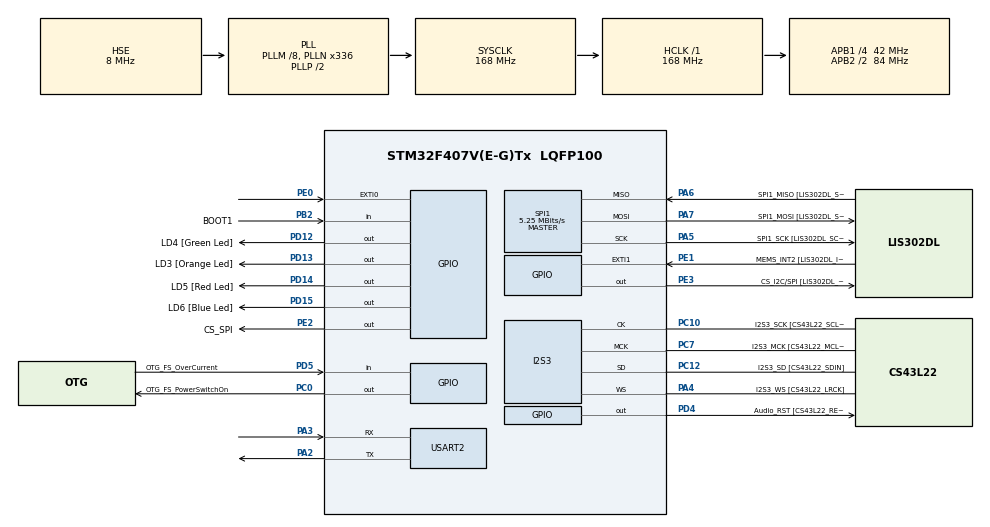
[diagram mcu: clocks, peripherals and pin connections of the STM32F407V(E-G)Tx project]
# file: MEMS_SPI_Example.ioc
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Mcu.Family=STM32F4
PA11.GPIO_Speed=GPIO_SPEED_FREQ_LOW
PC3.GPIO_Mode=GPIO_MODE_AF_PP
PD12.GPIO_Label=LD4 [Green Led]
PA6.Mode=Full_Duplex_Master
PH0-OSC_IN.Signal=RCC_OSC_IN
RCC.CortexFreq_Value=168000000
PC10.GPIO_PuPd=GPIO_NOPULL
PB10.GPIO_Speed=GPIO_SPEED_FREQ_LOW
SPI1.VirtualType=VM_MASTER
PB6.GPIO_Mode=GPIO_MODE_AF_OD
PB10.GPIO_PuPd=GPIO_NOPULL
PA10.GPIO_PuPd=GPIO_NOPULL
PD15.GPIO_Speed=GPIO_SPEED_FREQ_LOW
PC10.Signal=I2S3_CK
PC12.Signal=I2S3_SD
PA14.GPIO_Label=SWCLK
PA7.GPIO_Mode=GPIO_MODE_AF_PP
PC0.GPIO_Label=OTG_FS_PowerSwitchOn
PA6.GPIO_Label=SPI1_MISO [LIS302DL_SDO]
PB6.GPIO_Label=Audio_SCL [CS43L22_SCL]
PC10.GPIO_Speed=GPIO_SPEED_FREQ_LOW
PA11.GPIO_PuPd=GPIO_NOPULL
PC15-OSC32_OUT.GPIO_Label=PC15-OSC32_OUT
PC3.GPIO_Speed=GPIO_SPEED_FREQ_LOW
RCC.SYSCLKSource=RCC_SYSCLKSOURCE_PLLCLK
ProjectManager.StackSize=0x400
PA6.GPIO_Mode=GPIO_MODE_AF_PP
SPI1.Mode-Full_Duplex_Master=SPI_MODE_MASTER
PD13.Signal=GPIO_Output
PD14.GPIO_Speed=GPIO_SPEED_FREQ_LOW
PA12.Signal=USB_OTG_FS_DP
PA4.Mode=Half_Duplex_Master
SPI1.Direction=SPI_DIRECTION_2LINES
I2S3.AudioFreq-Half_Duplex_Master=I2S_AUDIOFREQ_96K
RCC.HCLKFreq_Value=168000000
PD4.Signal=GPIO_Output
RCC.APB2TimFreq_Value=168000000
PB6.Signal=I2C1_SCL
PC7.Signal=I2S3_MCK
SPI1.CalculateBaudRate=5.25 MBits/s
PC3.Signal=I2S2_SD
PE1.Signal=GPXTI1
RCC.AHBFreq_Value=168000000
PH0-OSC_IN.Mode=HSE-External-Oscillator
PH0-OSC_IN.GPIO_Label=PH0-OSC_IN
PA9.GPIO_Mode=GPIO_MODE_INPUT
RCC.HSE_VALUE=8000000
PA4.GPIO_PuPd=GPIO_NOPULL
PB2.Signal=GPIO_Input
PA4.GPIO_Speed=GPIO_SPEED_FREQ_LOW
I2S3.ErrorAudioFreq=-2.34 %
PA6.GPIO_PuPd=GPIO_NOPULL
PC14-OSC32_IN.Mode=LSE-External-Oscillator
PA14.Mode=Serial_Wire
PA5.GPIO_PuPd=GPIO_NOPULL
I2S3.ErrorAudioFreq-Half_Duplex_Master=0.8 %
PA10.GPIO_Label=OTG_FS_ID
PC7.GPIO_Mode=GPIO_MODE_AF_PP
PD5.GPIO_Mode=GPIO_MODE_INPUT
PE2.Signal=GPIO_Output
PD14.GPIO_PuPd=GPIO_NOPULL
PB2.GPIO_PuPd=GPIO_NOPULL
SPI1.CalculateBaudRate-Full_Duplex_Master=42.0 MBits/s
PH1-OSC_OUT.Mode=HSE-External-Oscillator
PD13.GPIO_Label=LD3 [Orange Led]
Mcu.Package=LQFP100
PB9.Signal=I2C1_SDA
PA6.Signal=SPI1_MISO
USART2.VirtualMode=VM_ASYNC
PD12.Signal=GPIO_Output
PD5.GPIO_Label=OTG_FS_OverCurrent
PD15.GPIO_PuPd=GPIO_NOPULL
PA10.Signal=USB_OTG_FS_ID
PB9.GPIO_PuPd=GPIO_NOPULL
PA10.GPIO_Speed=GPIO_SPEED_FREQ_LOW
RCC.APB2CLKDivider=RCC_HCLK_DIV2
PB9.GPIO_Speed=GPIO_SPEED_FREQ_LOW
RCC.APB1TimFreq_Value=84000000
PC14-OSC32_IN.GPIO_Label=PC14-OSC32_IN
PC12.GPIO_PuPd=GPIO_NOPULL
PA6.GPIO_Speed=GPIO_SPEED_FREQ_LOW
PC0.GPIO_PuPd=GPIO_NOPULL
PA12.GPIO_PuPd=GPIO_NOPULL
SPI1.BaudRatePrescaler=SPI_BAUDRATEPRESCALER_16
PA4.GPIO_Label=I2S3_WS [CS43L22_LRCK]
PE2.GPIO_Label=CS_SPI
PD15.Signal=GPIO_Output
PC0.PinState=GPIO_PIN_SET
PA12.GPIO_Speed=GPIO_SPEED_FREQ_LOW
PA3.Signal=USART2_RX
PA5.Mode=Full_Duplex_Master
PB3.GPIO_Label=SWO
RCC.PLLSourceVirtual=RCC_PLLSOURCE_HSE
PC15-OSC32_OUT.Mode=LSE-External-Oscillator
I2S3.FullDuplexMode=I2S_FULLDUPLEXMODE_DISABLE
PD12.GPIO_Speed=GPIO_SPEED_FREQ_LOW
PD15.GPIO_Label=LD6 [Blue Led]
PA7.Mode=Full_Duplex_Master
PB9.GPIO_Label=Audio_SDA [CS43L22_SDA]
PC10.GPIO_Label=I2S3_SCK [CS43L22_SCLK]
PE2.PinState=GPIO_PIN_SET
PA9.GPIO_Label=VBUS_FS
PB6.GPIO_PuPd=GPIO_NOPULL
PC10.Mode=Half_Duplex_Master
PA11.GPIO_Label=OTG_FS_DM
PE1.GPIO_PuPd=GPIO_NOPULL
PD5.Signal=GPIO_Input
SPI1.CLKPhase=SPI_PHASE_1EDGE
PC0.Signal=GPIO_Output
PE1.GPIO_ModeDefaultEXTI=GPIO_MODE_EVT_RISING
RCC.APB1CLKDivider=RCC_HCLK_DIV4
PC14-OSC32_IN.Signal=RCC_OSC32_IN
PA9.GPIO_PuPd=GPIO_NOPULL
PA12.GPIO_Label=OTG_FS_DP
PA10.GPIO_Mode=GPIO_MODE_AF_PP
PA3.Mode=Asynchronous
PA13.Signal=SYS_JTMS-SWDIO
PC10.GPIO_Mode=GPIO_MODE_AF_PP
PD4.GPIO_PuPd=GPIO_NOPULL
PC0.GPIO_Speed=GPIO_SPEED_FREQ_LOW
PB10.GPIO_Mode=GPIO_MODE_AF_PP
I2S3.RealAudioFreq-Half_Duplex_Master=96.774 KHz
ProjectManager.TargetToolchain=STM32CubeIDE
PB10.GPIO_Label=CLK_IN [MP45DT02_CLK]
PA9.Signal=USB_OTG_FS_VBUS
I2S3.VirtualMode=I2S_MODE_MASTER
PC7.GPIO_PuPd=GPIO_NOPULL
PC15-OSC32_OUT.Signal=RCC_OSC32_OUT
PA7.GPIO_PuPd=GPIO_NOPULL
PB10.Signal=I2S2_CK
PA5.Signal=SPI1_SCK
PC12.Mode=Half_Duplex_Master
board=STM32F407G-DISC1
PD13.GPIO_Speed=GPIO_SPEED_FREQ_LOW
PC7.GPIO_Speed=GPIO_SPEED_FREQ_LOW
RCC.VCOOutputFreq_Value=336000000
PE1.GPIO_Label=MEMS_INT2 [LIS302DL_INT2]
PA7.GPIO_Speed=GPIO_SPEED_FREQ_LOW
PB9.GPIO_Mode=GPIO_MODE_AF_OD
PA12.GPIO_Mode=GPIO_MODE_AF_PP
PA4.GPIO_Mode=GPIO_MODE_AF_PP
RCC.APB2Freq_Value=84000000
PB2.GPIO_Mode=GPIO_MODE_INPUT
SPI1.Mode=SPI_MODE_MASTER
PD4.GPIO_Label=Audio_RST [CS43L22_RESET]
PD4.GPIO_Speed=GPIO_SPEED_FREQ_LOW
PE3.GPIO_PuPd=GPIO_NOPULL
PH1-OSC_OUT.Signal=RCC_OSC_OUT
PD13.GPIO_PuPd=GPIO_NOPULL
PD5.GPIO_PuPd=GPIO_NOPULL
PD14.GPIO_Label=LD5 [Red Led]
PH1-OSC_OUT.GPIO_Label=PH1-OSC_OUT
PA13.Mode=Serial_Wire
Mcu.Name=STM32F407V(E-G)Tx
PE0.Signal=GPXTI0
PA2.Signal=USART2_TX
PA13.GPIO_Label=SWDIO
PC7.GPIO_Label=I2S3_MCK [CS43L22_MCLK]
PD14.Signal=GPIO_Output
RCC.48MHZClocksFreq_Value=48000000
PB3.Signal=SYS_JTDO-SWO
NVIC.EXTI0_IRQn=true\:0\:0\:false\:false\:true\:true\:true
PA4.Signal=I2S3_WS
RCC.SYSCLKFreq_VALUE=168000000
PC12.GPIO_Mode=GPIO_MODE_AF_PP
PA7.GPIO_Label=SPI1_MOSI [LIS302DL_SDA/SDI/SDO]
PA5.GPIO_Label=SPI1_SCK [LIS302DL_SCL/SPC]
PE3.GPIO_Speed=GPIO_SPEED_FREQ_LOW
PC12.GPIO_Label=I2S3_SD [CS43L22_SDIN]
PA11.Signal=USB_OTG_FS_DM
PA14.Signal=SYS_JTCK-SWCLK
PB2.GPIO_Label=BOOT1
ProjectManager.HeapSize=0x200
RCC.HSI_VALUE=16000000
PA5.GPIO_Speed=GPIO_SPEED_FREQ_LOW
RCC.PLLQ=7
NVIC.PriorityGroup=NVIC_PRIORITYGROUP_0
I2S3.RealAudioFreq=93.75 KHz
RCC.PLLM=8
RCC.PLLN=336
PE3.Signal=GPIO_Output
PA2.Mode=Asynchronous
PE3.GPIO_Label=CS_I2C/SPI [LIS302DL_CS_I2C/SPI]
PC3.GPIO_Label=PDM_OUT [MP45DT02_DOUT]
I2S3.Instance=SPI$Index
PC7.Mode=Master_Clock_Activated
PA11.GPIO_Mode=GPIO_MODE_AF_PP
PB6.GPIO_Speed=GPIO_SPEED_FREQ_LOW
RCC.APB1Freq_Value=42000000
PA5.GPIO_Mode=GPIO_MODE_AF_PP
PC12.GPIO_Speed=GPIO_SPEED_FREQ_LOW
SPI1.BaudRatePrescaler-Full_Duplex_Master=SPI_BAUDRATEPRESCALER_2
PC3.GPIO_PuPd=GPIO_NOPULL
PD12.GPIO_PuPd=GPIO_NOPULL
PA7.Signal=SPI1_MOSI

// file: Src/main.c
/* USER CODE BEGIN Header */
/**
  ******************************************************************************
  * @file           : main.c
  * @brief          : Main program body
  ******************************************************************************
  * @attention
  *
  * <h2><center>&copy; Copyright (c) 2020 STMicroelectronics.
  * All rights reserved.</center></h2>
  *
  * This software component is licensed by ST under BSD 3-Clause license,
  * the "License"; You may not use this file except in compliance with the
  * License. You may obtain a copy of the License at:
  *                        opensource.org/licenses/BSD-3-Clause
  *
  ******************************************************************************
  */
/* USER CODE END Header */
#include "main.h"

/* USER CODE BEGIN Includes */
#include <stdio.h>
/* USER CODE END Includes */

/* USER CODE BEGIN PD */
#define SPI_CS GPIO_PIN_3   // The chip select pin for the MEMES chip.
#define SPI_RD 0x80         // The bit to set SPI to read.

/* USER CODE END PD */

I2S_HandleTypeDef hi2s3;

SPI_HandleTypeDef hspi1;

UART_HandleTypeDef huart2;

void SystemClock_Config(void);
static void MX_GPIO_Init(void);
static void MX_I2S3_Init(void);
static void MX_SPI1_Init(void);
static void MX_USART2_UART_Init(void);

/* USER CODE BEGIN 0 */
// Define the SPI communication buffers.
//
uint8_t auchSpiTxBuf[2], auchSpiRxBuf[2];

/* USER CODE END 0 */

int main(void)
{

  /* MCU Configuration--------------------------------------------------------*/

  /* Reset of all peripherals, Initializes the Flash interface and the Systick. */
  HAL_Init();

  /* Configure the system clock */
  SystemClock_Config();

  /* Initialize all configured peripherals */
  MX_GPIO_Init();
  MX_I2S3_Init();
  MX_SPI1_Init();
  MX_USART2_UART_Init();
  /* USER CODE BEGIN 2 */

  // Now set up the MEMs chip for 3.25 Hz sampling rate.
	// Initial setup of the MEMS sample rate
	auchSpiTxBuf[0] = 0x20;   // Control Reg 0x20
	auchSpiTxBuf[1] = 0x11;   // Sampling at 3.5 Hz, X accelerometer

	// Now set the chip select low
	HAL_GPIO_WritePin(GPIOE, SPI_CS, GPIO_PIN_RESET);
	// Now write the set up data.
	HAL_SPI_Transmit(&hspi1, auchSpiTxBuf, 2, 50);  // Send the set up command.
	//Now set the CS pin high again
	HAL_GPIO_WritePin(GPIOE, SPI_CS, GPIO_PIN_SET);

	// We can now read the date back to check that the write was successful
	//
	// Set up the auchSpiTxBuf for a read.
	auchSpiTxBuf[0] = 0x20 | SPI_RD;   // Control Reg 0x20 to be read

	// Now set the chip select low
	HAL_GPIO_WritePin(GPIOE, SPI_CS, GPIO_PIN_RESET);
	// Now write the set up data.
	HAL_SPI_Transmit(&hspi1, auchSpiTxBuf, 1, 50);
	HAL_SPI_Receive(&hspi1, auchSpiRxBuf, 1, 50);
	//Now set the CS pin high again
	HAL_GPIO_WritePin(GPIOE, SPI_CS, GPIO_PIN_SET);

	// Now print out the value to see if it is correct
	printf("Control value read = %d\n", auchSpiRxBuf[0]);

  /* USER CODE END 2 */

  /* Infinite loop */
  /* USER CODE BEGIN WHILE */
  while (1)
  {
//#ifdef LOOP
    HAL_GPIO_TogglePin(LD4_GPIO_Port, LD4_Pin);
    // Set up the auchSpiTxBuf for a read.
    auchSpiTxBuf[0] = 0x29 | SPI_RD;   // Control Reg 0x29 to be read

    // Now set the chip select low
    HAL_GPIO_WritePin(GPIOE, SPI_CS, GPIO_PIN_RESET);
    // Now write the set up data.
    HAL_SPI_Transmit(&hspi1, auchSpiTxBuf, 1, 50);
    HAL_SPI_Receive(&hspi1, auchSpiRxBuf, 1, 50);
    //Now set the CS pin high again
    HAL_GPIO_WritePin(GPIOE, SPI_CS, GPIO_PIN_SET);
    HAL_Delay(100);
    // Now print out the value to see if it is correct
    printf("Value read = %d\n", (int8_t)auchSpiRxBuf[0]);
//#endif
//    HAL_GPIO_TogglePin(LD4_GPIO_Port, LD4_Pin);
//    HAL_Delay(300);
    /* USER CODE END WHILE */

  }
}

void SystemClock_Config(void)
{
  RCC_OscInitTypeDef RCC_OscInitStruct = {0};
  RCC_ClkInitTypeDef RCC_ClkInitStruct = {0};
  RCC_PeriphCLKInitTypeDef PeriphClkInitStruct = {0};

  /** Configure the main internal regulator output voltage
  */
  __HAL_RCC_PWR_CLK_ENABLE();
  __HAL_PWR_VOLTAGESCALING_CONFIG(PWR_REGULATOR_VOLTAGE_SCALE1);
  /** Initializes the RCC Oscillators according to the specified parameters
  * in the RCC_OscInitTypeDef structure.
  */
  RCC_OscInitStruct.OscillatorType = RCC_OSCILLATORTYPE_HSE;
  RCC_OscInitStruct.HSEState = RCC_HSE_ON;
  RCC_OscInitStruct.PLL.PLLState = RCC_PLL_ON;
  RCC_OscInitStruct.PLL.PLLSource = RCC_PLLSOURCE_HSE;
  RCC_OscInitStruct.PLL.PLLM = 8;
  RCC_OscInitStruct.PLL.PLLN = 336;
  RCC_OscInitStruct.PLL.PLLP = RCC_PLLP_DIV2;
  RCC_OscInitStruct.PLL.PLLQ = 7;
  if (HAL_RCC_OscConfig(&RCC_OscInitStruct) != HAL_OK)
  {
    Error_Handler();
  }
  /** Initializes the CPU, AHB and APB buses clocks
  */
  RCC_ClkInitStruct.ClockType = RCC_CLOCKTYPE_HCLK|RCC_CLOCKTYPE_SYSCLK
                              |RCC_CLOCKTYPE_PCLK1|RCC_CLOCKTYPE_PCLK2;
  RCC_ClkInitStruct.SYSCLKSource = RCC_SYSCLKSOURCE_PLLCLK;
  RCC_ClkInitStruct.AHBCLKDivider = RCC_SYSCLK_DIV1;
  RCC_ClkInitStruct.APB1CLKDivider = RCC_HCLK_DIV4;
  RCC_ClkInitStruct.APB2CLKDivider = RCC_HCLK_DIV2;

  if (HAL_RCC_ClockConfig(&RCC_ClkInitStruct, FLASH_LATENCY_5) != HAL_OK)
  {
    Error_Handler();
  }
  PeriphClkInitStruct.PeriphClockSelection = RCC_PERIPHCLK_I2S;
  PeriphClkInitStruct.PLLI2S.PLLI2SN = 192;
  PeriphClkInitStruct.PLLI2S.PLLI2SR = 2;
  if (HAL_RCCEx_PeriphCLKConfig(&PeriphClkInitStruct) != HAL_OK)
  {
    Error_Handler();
  }
}

static void MX_I2S3_Init(void)
{

  hi2s3.Instance = SPI3;
  hi2s3.Init.Mode = I2S_MODE_MASTER_TX;
  hi2s3.Init.Standard = I2S_STANDARD_PHILIPS;
  hi2s3.Init.DataFormat = I2S_DATAFORMAT_16B;
  hi2s3.Init.MCLKOutput = I2S_MCLKOUTPUT_ENABLE;
  hi2s3.Init.AudioFreq = I2S_AUDIOFREQ_96K;
  hi2s3.Init.CPOL = I2S_CPOL_LOW;
  hi2s3.Init.ClockSource = I2S_CLOCK_PLL;
  hi2s3.Init.FullDuplexMode = I2S_FULLDUPLEXMODE_DISABLE;
  if (HAL_I2S_Init(&hi2s3) != HAL_OK)
  {
    Error_Handler();
  }

}

static void MX_SPI1_Init(void)
{

  /* SPI1 parameter configuration*/
  hspi1.Instance = SPI1;
  hspi1.Init.Mode = SPI_MODE_MASTER;
  hspi1.Init.Direction = SPI_DIRECTION_2LINES;
  hspi1.Init.DataSize = SPI_DATASIZE_8BIT;
  hspi1.Init.CLKPolarity = SPI_POLARITY_LOW;
  hspi1.Init.CLKPhase = SPI_PHASE_1EDGE;
  hspi1.Init.NSS = SPI_NSS_SOFT;
  hspi1.Init.BaudRatePrescaler = SPI_BAUDRATEPRESCALER_16;
  hspi1.Init.FirstBit = SPI_FIRSTBIT_MSB;
  hspi1.Init.TIMode = SPI_TIMODE_DISABLE;
  hspi1.Init.CRCCalculation = SPI_CRCCALCULATION_DISABLE;
  hspi1.Init.CRCPolynomial = 10;
  if (HAL_SPI_Init(&hspi1) != HAL_OK)
  {
    Error_Handler();
  }

}

static void MX_USART2_UART_Init(void)
{

  huart2.Instance = USART2;
  huart2.Init.BaudRate = 115200;
  huart2.Init.WordLength = UART_WORDLENGTH_8B;
  huart2.Init.StopBits = UART_STOPBITS_1;
  huart2.Init.Parity = UART_PARITY_NONE;
  huart2.Init.Mode = UART_MODE_TX_RX;
  huart2.Init.HwFlowCtl = UART_HWCONTROL_NONE;
  huart2.Init.OverSampling = UART_OVERSAMPLING_16;
  if (HAL_UART_Init(&huart2) != HAL_OK)
  {
    Error_Handler();
  }

}

static void MX_GPIO_Init(void)
{
  GPIO_InitTypeDef GPIO_InitStruct = {0};

  /* GPIO Ports Clock Enable */
  __HAL_RCC_GPIOE_CLK_ENABLE();
  __HAL_RCC_GPIOC_CLK_ENABLE();
  __HAL_RCC_GPIOH_CLK_ENABLE();
  __HAL_RCC_GPIOA_CLK_ENABLE();
  __HAL_RCC_GPIOB_CLK_ENABLE();
  __HAL_RCC_GPIOD_CLK_ENABLE();

  /*Configure GPIO pin Output Level */
  HAL_GPIO_WritePin(CS_SPI_GPIO_Port, CS_SPI_Pin, GPIO_PIN_SET);

  /*Configure GPIO pin Output Level */
  HAL_GPIO_WritePin(CS_I2C_SPI_GPIO_Port, CS_I2C_SPI_Pin, GPIO_PIN_RESET);

  /*Configure GPIO pin Output Level */
  HAL_GPIO_WritePin(OTG_FS_PowerSwitchOn_GPIO_Port, OTG_FS_PowerSwitchOn_Pin, GPIO_PIN_SET);

  /*Configure GPIO pin Output Level */
  HAL_GPIO_WritePin(GPIOD, LD4_Pin|LD3_Pin|LD5_Pin|LD6_Pin
                          |Audio_RST_Pin, GPIO_PIN_RESET);

  /*Configure GPIO pins : CS_SPI_Pin CS_I2C_SPI_Pin */
  GPIO_InitStruct.Pin = CS_SPI_Pin|CS_I2C_SPI_Pin;
  GPIO_InitStruct.Mode = GPIO_MODE_OUTPUT_PP;
  GPIO_InitStruct.Pull = GPIO_NOPULL;
  GPIO_InitStruct.Speed = GPIO_SPEED_FREQ_LOW;
  HAL_GPIO_Init(GPIOE, &GPIO_InitStruct);

  /*Configure GPIO pin : OTG_FS_PowerSwitchOn_Pin */
  GPIO_InitStruct.Pin = OTG_FS_PowerSwitchOn_Pin;
  GPIO_InitStruct.Mode = GPIO_MODE_OUTPUT_PP;
  GPIO_InitStruct.Pull = GPIO_NOPULL;
  GPIO_InitStruct.Speed = GPIO_SPEED_FREQ_LOW;
  HAL_GPIO_Init(OTG_FS_PowerSwitchOn_GPIO_Port, &GPIO_InitStruct);

  /*Configure GPIO pin : PDM_OUT_Pin */
  GPIO_InitStruct.Pin = PDM_OUT_Pin;
  GPIO_InitStruct.Mode = GPIO_MODE_AF_PP;
  GPIO_InitStruct.Pull = GPIO_NOPULL;
  GPIO_InitStruct.Speed = GPIO_SPEED_FREQ_LOW;
  GPIO_InitStruct.Alternate = GPIO_AF5_SPI2;
  HAL_GPIO_Init(PDM_OUT_GPIO_Port, &GPIO_InitStruct);

  /*Configure GPIO pin : BOOT1_Pin */
  GPIO_InitStruct.Pin = BOOT1_Pin;
  GPIO_InitStruct.Mode = GPIO_MODE_INPUT;
  GPIO_InitStruct.Pull = GPIO_NOPULL;
  HAL_GPIO_Init(BOOT1_GPIO_Port, &GPIO_InitStruct);

  /*Configure GPIO pin : CLK_IN_Pin */
  GPIO_InitStruct.Pin = CLK_IN_Pin;
  GPIO_InitStruct.Mode = GPIO_MODE_AF_PP;
  GPIO_InitStruct.Pull = GPIO_NOPULL;
  GPIO_InitStruct.Speed = GPIO_SPEED_FREQ_LOW;
  GPIO_InitStruct.Alternate = GPIO_AF5_SPI2;
  HAL_GPIO_Init(CLK_IN_GPIO_Port, &GPIO_InitStruct);

  /*Configure GPIO pins : LD4_Pin LD3_Pin LD5_Pin LD6_Pin
                           Audio_RST_Pin */
  GPIO_InitStruct.Pin = LD4_Pin|LD3_Pin|LD5_Pin|LD6_Pin
                          |Audio_RST_Pin;
  GPIO_InitStruct.Mode = GPIO_MODE_OUTPUT_PP;
  GPIO_InitStruct.Pull = GPIO_NOPULL;
  GPIO_InitStruct.Speed = GPIO_SPEED_FREQ_LOW;
  HAL_GPIO_Init(GPIOD, &GPIO_InitStruct);

  /*Configure GPIO pin : VBUS_FS_Pin */
  GPIO_InitStruct.Pin = VBUS_FS_Pin;
  GPIO_InitStruct.Mode = GPIO_MODE_INPUT;
  GPIO_InitStruct.Pull = GPIO_NOPULL;
  HAL_GPIO_Init(VBUS_FS_GPIO_Port, &GPIO_InitStruct);

  /*Configure GPIO pins : OTG_FS_ID_Pin OTG_FS_DM_Pin OTG_FS_DP_Pin */
  GPIO_InitStruct.Pin = OTG_FS_ID_Pin|OTG_FS_DM_Pin|OTG_FS_DP_Pin;
  GPIO_InitStruct.Mode = GPIO_MODE_AF_PP;
  GPIO_InitStruct.Pull = GPIO_NOPULL;
  GPIO_InitStruct.Speed = GPIO_SPEED_FREQ_LOW;
  GPIO_InitStruct.Alternate = GPIO_AF10_OTG_FS;
  HAL_GPIO_Init(GPIOA, &GPIO_InitStruct);

  /*Configure GPIO pin : OTG_FS_OverCurrent_Pin */
  GPIO_InitStruct.Pin = OTG_FS_OverCurrent_Pin;
  GPIO_InitStruct.Mode = GPIO_MODE_INPUT;
  GPIO_InitStruct.Pull = GPIO_NOPULL;
  HAL_GPIO_Init(OTG_FS_OverCurrent_GPIO_Port, &GPIO_InitStruct);

  /*Configure GPIO pins : Audio_SCL_Pin Audio_SDA_Pin */
  GPIO_InitStruct.Pin = Audio_SCL_Pin|Audio_SDA_Pin;
  GPIO_InitStruct.Mode = GPIO_MODE_AF_OD;
  GPIO_InitStruct.Pull = GPIO_PULLUP;
  GPIO_InitStruct.Speed = GPIO_SPEED_FREQ_LOW;
  GPIO_InitStruct.Alternate = GPIO_AF4_I2C1;
  HAL_GPIO_Init(GPIOB, &GPIO_InitStruct);

  /*Configure GPIO pin : PE0 */
  GPIO_InitStruct.Pin = GPIO_PIN_0;
  GPIO_InitStruct.Mode = GPIO_MODE_IT_RISING;
  GPIO_InitStruct.Pull = GPIO_NOPULL;
  HAL_GPIO_Init(GPIOE, &GPIO_InitStruct);

  /*Configure GPIO pin : MEMS_INT2_Pin */
  GPIO_InitStruct.Pin = MEMS_INT2_Pin;
  GPIO_InitStruct.Mode = GPIO_MODE_EVT_RISING;
  GPIO_InitStruct.Pull = GPIO_NOPULL;
  HAL_GPIO_Init(MEMS_INT2_GPIO_Port, &GPIO_InitStruct);

  /* EXTI interrupt init*/
  HAL_NVIC_SetPriority(EXTI0_IRQn, 0, 0);
  HAL_NVIC_EnableIRQ(EXTI0_IRQn);

}

void Error_Handler(void)
{
}

/************************ (C) COPYRIGHT STMicroelectronics *****END OF FILE****/
